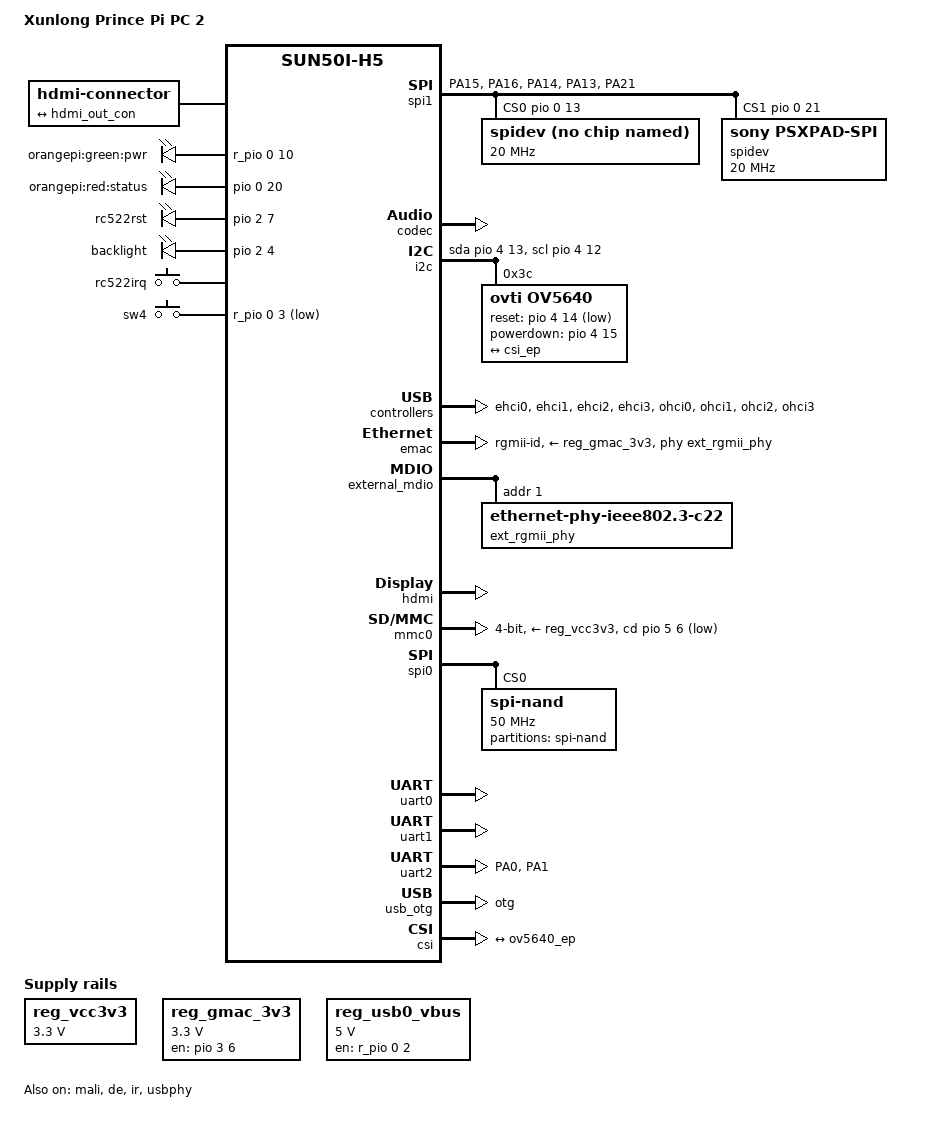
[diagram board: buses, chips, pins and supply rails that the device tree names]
/*
 * Copyright (C) 2016 ARM Ltd.
 *
 * This file is dual-licensed: you can use it either under the terms
 * of the GPL or the X11 license, at your option. Note that this dual
 * licensing only applies to this file, and not this project as a
 * whole.
 *
 *  a) This file is free software; you can redistribute it and/or
 *     modify it under the terms of the GNU General Public License as
 *     published by the Free Software Foundation; either version 2 of the
 *     License, or (at your option) any later version.
 *
 *     This file is distributed in the hope that it will be useful,
 *     but WITHOUT ANY WARRANTY; without even the implied warranty of
 *     MERCHANTABILITY or FITNESS FOR A PARTICULAR PURPOSE.  See the
 *     GNU General Public License for more details.
 *
 * Or, alternatively,
 *
 *  b) Permission is hereby granted, free of charge, to any person
 *     obtaining a copy of this software and associated documentation
 *     files (the "Software"), to deal in the Software without
 *     restriction, including without limitation the rights to use,
 *     copy, modify, merge, publish, distribute, sublicense, and/or
 *     sell copies of the Software, and to permit persons to whom the
 *     Software is furnished to do so, subject to the following
 *     conditions:
 *
 *     The above copyright notice and this permission notice shall be
 *     included in all copies or substantial portions of the Software.
 *
 *     THE SOFTWARE IS PROVIDED "AS IS", WITHOUT WARRANTY OF ANY KIND,
 *     EXPRESS OR IMPLIED, INCLUDING BUT NOT LIMITED TO THE WARRANTIES
 *     OF MERCHANTABILITY, FITNESS FOR A PARTICULAR PURPOSE AND
 *     NONINFRINGEMENT. IN NO EVENT SHALL THE AUTHORS OR COPYRIGHT
 *     HOLDERS BE LIABLE FOR ANY CLAIM, DAMAGES OR OTHER LIABILITY,
 *     WHETHER IN AN ACTION OF CONTRACT, TORT OR OTHERWISE, ARISING
 *     FROM, OUT OF OR IN CONNECTION WITH THE SOFTWARE OR THE USE OR
 *     OTHER DEALINGS IN THE SOFTWARE.
 */

/dts-v1/;
#include "sun50i-h5.dtsi"
#include <dt-bindings/pwm/pwm.h>
#include <dt-bindings/gpio/gpio.h>
#include <dt-bindings/input/input.h>
#include <dt-bindings/pinctrl/sun4i-a10.h>

/ {
	model = "Xunlong Prince Pi PC 2";
	compatible = "xunlong,orangepi-pc2", "allwinner,sun50i-h5";

	reg_vcc3v3: vcc3v3 {
		compatible = "regulator-fixed";
		regulator-name = "vcc3v3";
		regulator-min-microvolt = <3300000>;
		regulator-max-microvolt = <3300000>;
	};

	aliases {
		ethernet0 = &emac;
		serial0 = &uart0;
	};

	chosen {
		stdout-path = "serial0:115200n8";
		/delete-node/ framebuffer@0;
	};

	connector {
		compatible = "hdmi-connector";
		type = "a";

		port {
			hdmi_con_in: endpoint {
				remote-endpoint = <&hdmi_out_con>;
			};
		};
	};

	leds {
		compatible = "gpio-leds";

		pwr {
			label = "orangepi:green:pwr";
			gpios = <&r_pio 0 10 GPIO_ACTIVE_HIGH>;
			default-state = "on";
			linux,default-trigger = "heartbeat";
		};

		status {
			label = "orangepi:red:status";
			gpios = <&pio 0 20 GPIO_ACTIVE_HIGH>;
			linux,default-trigger = "timer";
		};

		rc522rst {
			label = "rc522rst";
			gpios = <&pio 2 7 GPIO_ACTIVE_HIGH>;
			default-state = "on";
		};

		backlight {
			label = "backlight";
			gpios = <&pio 2 4 GPIO_ACTIVE_HIGH>;
			default-state = "on";
		};
	};

	soc {
		r_pwm: pwm@1f03800 {
			compatible = "allwinner,sun50i-a64-pwm",
				     "allwinner,sun5i-a13-pwm";
			reg = <0x01f03800 0x400>;
			clocks = <&osc24M>;
			pinctrl-names = "default";
			pinctrl-0 = <&r_pwm_pin>;
			#pwm-cells = <3>;
			status = "disabled";
		};

		spi1: spi@1c69000 {
			compatible = "allwinner,sun8i-h3-spi";
			reg = <0x01c69000 0x1000>;
			interrupts = <GIC_SPI 66 IRQ_TYPE_LEVEL_HIGH>;
			clocks = <&ccu CLK_BUS_SPI1>, <&ccu CLK_SPI1>;
			clock-names = "ahb", "mod";
			dmas = <&dma 24>, <&dma 24>;
			dma-names = "rx", "tx";
			resets = <&ccu RST_BUS_SPI1>;
			status = "disabled";
		};

		codec: codec@1c22c00 {
			#sound-dai-cells = <0>;
			compatible = "allwinner,sun8i-h3-codec";
			reg = <0x01c22c00 0x400>;
			interrupts = <GIC_SPI 29 IRQ_TYPE_LEVEL_HIGH>;
			clocks = <&ccu CLK_BUS_CODEC>, <&ccu CLK_AC_DIG>;
			clock-names = "apb", "codec";
			resets = <&ccu RST_BUS_CODEC>;
			dmas = <&dma 15>, <&dma 15>;
			dma-names = "rx", "tx";
			allwinner,codec-analog-controls = <&codec_analog>;
			status = "disabled";
		};

		codec_analog: codec-analog@1f015c0 {
			compatible = "allwinner,sun8i-h3-codec-analog";
			reg = <0x01f015c0 0x4>;
		};
	};

	gpio_keys {
		compatible = "gpio-keys";
		#address-cells = <1>;
		#size-cells = <0>;
		autorepeat;

		switch0 {
			label = "rc522irq";
			linux,code = <115>;
			interrupt-parent = <&pio>;
			interrupts = <2 5 IRQ_TYPE_EDGE_BOTH>;	//PC4
		};

	};

	r-gpio-keys {
		compatible = "gpio-keys";

		sw4 {
			label = "sw4";
			linux,code = <BTN_0>;
			gpios = <&r_pio 0 3 GPIO_ACTIVE_LOW>;
			//interrupt-parent = <&pio>;
			//interrupts = <0 3 IRQ_TYPE_EDGE_BOTH>;	//PL4
		};
	};

	reg_gmac_3v3: gmac-3v3 {
		compatible = "regulator-fixed";
		regulator-name = "gmac-3v3";
		regulator-min-microvolt = <3300000>;
		regulator-max-microvolt = <3300000>;
		startup-delay-us = <100000>;
		enable-active-high;
		gpio = <&pio 3 6 GPIO_ACTIVE_HIGH>;
	};

	reg_usb0_vbus: usb0-vbus {
		compatible = "regulator-fixed";
		regulator-name = "usb0-vbus";
		regulator-min-microvolt = <5000000>;
		regulator-max-microvolt = <5000000>;
		enable-active-high;
		gpio = <&r_pio 0 2 GPIO_ACTIVE_HIGH>; /* PL2 */
		status = "okay";
	};

	i2c {
		compatible = "i2c-gpio";
		sda-gpios = <&pio 4 13 GPIO_ACTIVE_HIGH>;
		scl-gpios = <&pio 4 12 GPIO_ACTIVE_HIGH>;
		i2c-gpio,delay-us = <5>;
		#address-cells = <1>;
		#size-cells = <0>;

		ov5640: camera@3c {
			compatible = "ovti,ov5640";
			reg = <0x3c>;
			pinctrl-names = "default";
			pinctrl-0 = <&csi_mclk_pin>;
			clocks = <&ccu CLK_CSI_MCLK>;
			clock-names = "xclk";

			//AVDD-supply = <&reg_aldo1>;
			//DOVDD-supply = <&reg_dldo3>;
			//DVDD-supply = <&reg_eldo3>;
			reset-gpios = <&pio 4 14 GPIO_ACTIVE_LOW>; /* CSI-RST-R: PE14 */
			powerdown-gpios = <&pio 4 15 GPIO_ACTIVE_HIGH>; /* CSI-STBY-R: PE15 */

			port {
				ov5640_ep: endpoint {
					remote-endpoint = <&csi_ep>;
					bus-width = <8>;
					hsync-active = <1>; /* Active high */
					vsync-active = <0>; /* Active low */
					data-active = <1>;  /* Active high */
					pclk-sample = <1>;  /* Rising */
				};
			};
		};
	};
/*
	backlight: backlight {
		compatible = "gpio-backlight";
		gpios = <&pio 2 4 GPIO_ACTIVE_HIGH>; // PC4
		default-on;
	};
*/
};

&codec {
	allwinner,audio-routing =
		"Line Out", "LINEOUT",
		"MIC1", "Mic",
		"Mic",  "MBIAS";
	status = "okay";
};

&mali {
	status = "okay";
};

&de {
	status = "okay";
};

&ehci0 {
	status = "okay";
};

&ehci1 {
	status = "okay";
};

&ehci2 {
	status = "okay";
};

&ehci3 {
	status = "okay";
};

&emac {
	pinctrl-names = "default";
	pinctrl-0 = <&emac_rgmii_pins>;
	phy-supply = <&reg_gmac_3v3>;
	phy-handle = <&ext_rgmii_phy>;
	phy-mode = "rgmii-id";
	local-mac-address = [a4 51 29 00 00 07];
	status = "okay";
};

&external_mdio {
	ext_rgmii_phy: ethernet-phy@1 {
		compatible = "ethernet-phy-ieee802.3-c22";
		reg = <1>;
	};
};

&hdmi {
	status = "okay";
};

&hdmi_out {
	hdmi_out_con: endpoint {
		remote-endpoint = <&hdmi_con_in>;
	};
};

&ir {
	pinctrl-names = "default";
	pinctrl-0 = <&r_ir_rx_pin>;
	linux,rc-map-name = "rc-tevii-nec";
	status = "okay";
};

&mmc0 {
	vmmc-supply = <&reg_vcc3v3>;
	bus-width = <4>;
	cd-gpios = <&pio 5 6 GPIO_ACTIVE_LOW>; /* PF6 */
	status = "okay";
};

&ohci0 {
	status = "okay";
};

&ohci1 {
	status = "okay";
};

&ohci2 {
	status = "okay";
};

&ohci3 {
	status = "okay";
};

&spi0  {
	pinctrl-names = "default";
    pinctrl-0 = <&spi0_pins>;
	status = "okay";

	spi-nor@0 {
		#address-cells = <1>;
		#size-cells = <1>;
		compatible = "jedec,spi-nor";
		reg = <0>;
		spi-max-frequency = <40000000>;
		status = "disabled";

		partitions {
			compatible = "fixed-partitions";
			#address-cells = <1>;
			#size-cells = <1>;

			partition@0 {
				label = "u-boot";
				reg = <0x000000 0x0E0000>;
			};
			partition@e0000 {
				label = "u-boot-env";
				reg = <0x0E0000 0x020000>;
			};
			partition@100000 {
				label = "ubi";
				reg = <0x100000 0x100000>;
			};

		};
	};

	spi-nand@0 {
		#address-cells = <1>;
		#size-cells = <1>;
		compatible = "spi-nand";
		reg = <0>;
		spi-max-frequency = <50000000>;
		status = "okay";

		partitions {
			compatible = "fixed-partitions";
			#address-cells = <1>;
			#size-cells = <1>;

			partition@0 {
				label = "spi-nand";
				reg = <0x000000 0x8000000>;
			};
		};
	};
};

&uart0 {
	pinctrl-names = "default";
	pinctrl-0 = <&uart0_pa_pins>;
	status = "okay";
};

&uart1 {
	pinctrl-names = "default";
	pinctrl-0 = <&uart1_pins>;
	status = "okay";
};

&uart2 {
	pinctrl-names = "default";
	pinctrl-0 = <&uart2_pins_a>;
	status = "okay";
};

&usb_otg {
	dr_mode = "otg";
	status = "okay";
};

&usbphy {
	/* USB Type-A ports' VBUS is always on */
	usb0_id_det-gpios = <&pio 6 12 GPIO_ACTIVE_HIGH>; /* PG12 */
	usb0_vbus-supply = <&reg_usb0_vbus>;
	status = "okay";
};

&pio {
	spi1_pins_cs1: spi1_pins_cs1 {
		pins = "PA13", "PA21";
		function = "gpio_out";
	};

	spi1_pins: spi1-pins {
		pins = "PA15", "PA16", "PA14", "PA13";
		function = "spi1";
	};

	uart2_pins_a: uart2_pins {
		pins = "PA0", "PA1";
		function = "uart2";
	};

	pwm0_pin: pwm0@0 {
		pins = "PA5";
		function = "pwm0";
	};

	r_pwm_pin: r-pwm-pin {
		pins = "PL10";
		function = "s_pwm";
	};

	backlight_pins: backlight_pins {
		pins = "PC4";
		function = "gpio_out";
	};

	csi_pins: csi-pins {
		pins = "PE0", "PE2", "PE3", "PE4", "PE5", "PE6",
				"PE7", "PE8", "PE9", "PE10", "PE11";
		function = "csi";
	};

	/omit-if-no-ref/
	csi_mclk_pin: csi-mclk-pin {
		pins = "PE1";
		function = "csi";
	};
};

&csi {
	status = "okay";

	port {
		csi_ep: endpoint {
			remote-endpoint = <&ov5640_ep>;
			bus-width = <8>;
			hsync-active = <1>; /* Active high */
			vsync-active = <0>; /* Active low */
			data-active = <1>;  /* Active high */
			pclk-sample = <1>;  /* Rising */
		};
	};
};

/*
&pwm {
	pinctrl-names = "default";
	pinctrl-0 = <&pwm0_pin>;
	status = "okay";
};
*/

&spi1 {
    #address-cells = <1>;
	#size-cells = <0>;
	pinctrl-names = "default";
	spi-num-chipselects = <2>;
	pinctrl-0 = <&spi1_pins &spi1_pins_cs1>;
	cs-gpios = <&pio 0 13 GPIO_ACTIVE_HIGH>, <&pio 0 21 GPIO_ACTIVE_HIGH>;
	status = "okay";

	spidev@0 {
		reg = <0>;
		compatible = "rohm,dh2228fv";
		spi-max-frequency = <20000000>;
		spi-cpha;
		spi-cpol;
		status = "okay";
	};

	spidev@1 {
		reg = <1>;
		compatible = "sony,psxpad-spi";
		spi-max-frequency = <20000000>;
		spi-cpha;
		spi-cpol;
		status = "okay";
	};

	ili9341@0 {
		compatible = "ilitek,ili9341";
		reg = <0>;
		status = "disabled";
		spi-max-frequency = <50000000>;
		rotate = <90>;
		bgr;
		fps = <30>;
		buswidth = <8>;
		reset-gpios = <&pio 0 3 GPIO_ACTIVE_LOW>; 	//PA3
		dc-gpios = <&pio 0 2 GPIO_ACTIVE_HIGH>;		//PA2
		debug = <0>;
		//backlight = <&backlight>;
	};

	tsc2046@1 {
		reg = <1>;	// CS1
		status = "disabled";
		compatible = "ti,tsc2046";
		interrupt-parent = <&pio>;
		interrupts = <2 7 IRQ_TYPE_LEVEL_LOW>;	//PC7
		spi-max-frequency = <1000000>;
		pendown-gpio = <&pio 2 7 GPIO_ACTIVE_LOW>;
		vcc-supply = <&reg_vcc3v3>;

		ti,x-min = /bits/ 16 <0>;
		ti,x-max = /bits/ 16 <320>;
		ti,y-min = /bits/ 16 <0>;
		ti,y-max = /bits/ 16 <240>;
		ti,x-plate-ohms = /bits/ 16 <40>;
		ti,pressure-max = /bits/ 16 <255>;

		wakeup-source;
	};
};
